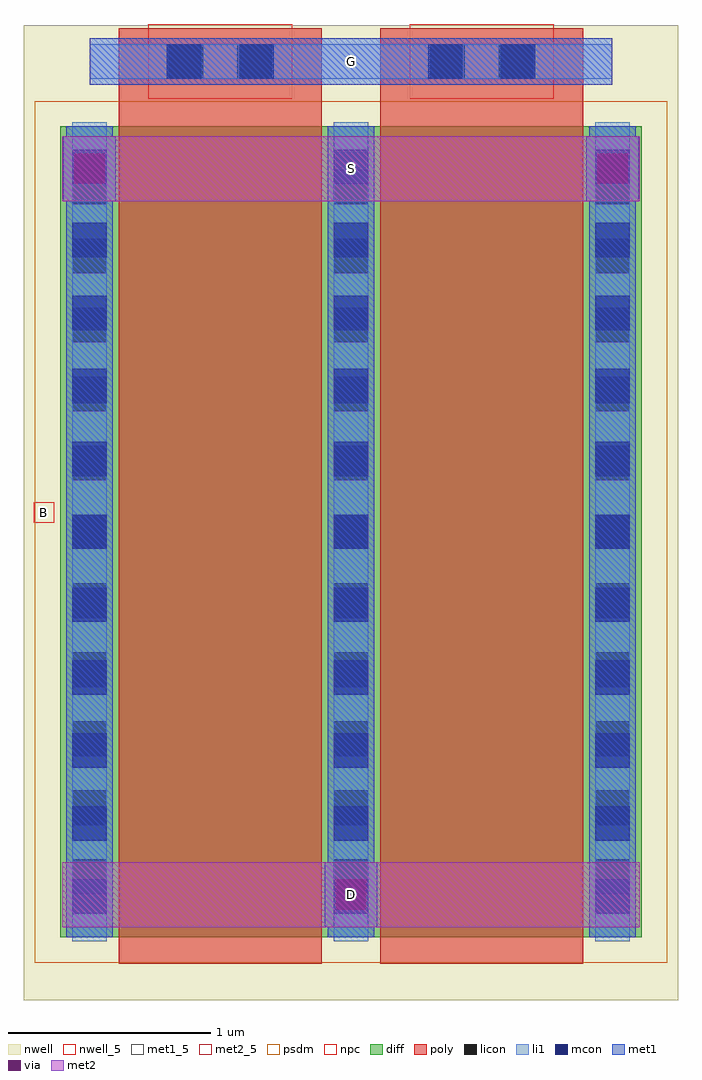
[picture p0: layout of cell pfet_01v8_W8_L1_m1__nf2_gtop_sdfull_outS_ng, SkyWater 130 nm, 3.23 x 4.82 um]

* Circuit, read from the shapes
.subckt pfet_01v8_W8_L1_m1__nf2_gtop_sdfull_outS_ng B D G S
XM1 D G S B sky130_fd_pr__pfet_01v8 w=4 l=1 m=2
.ends

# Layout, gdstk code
import gdstk
lib = gdstk.Library(unit=1e-6, precision=1e-09)
def R(c, l, rs):  # rectangles x0, y0, x1, y1
    for r in rs: c.add(gdstk.rectangle(r[:2], r[2:], *l))
def A(c, l, x, y, w, h, nx, ny, dx, dy):  # array of equal rectangles
    R(c, l, [(x+i*dx, y+j*dy, x+i*dx+w, y+j*dy+h) for i in range(nx) for j in range(ny)])
nwell_5 = (64, 5)
nwell = (64, 20)
diff = (65, 20)
poly = (66, 20)
licon = (66, 44)
li1 = (67, 20)
mcon = (67, 44)
met1_5 = (68, 5)
met1 = (68, 20)
via = (68, 44)
met2_5 = (69, 5)
met2 = (69, 20)
psdm = (94, 20)
npc = (95, 20)

sky130_fd_pr__pfet_01v8_ = lib.new_cell('sky130_fd_pr__pfet_01v8_JH7UZ5')
R(sky130_fd_pr__pfet_01v8_, nwell, [(-1.615,-2.49,1.615,2.32)])
R(sky130_fd_pr__pfet_01v8_, diff, [(-1.435,-2.18,1.435,1.82)])
R(sky130_fd_pr__pfet_01v8_, poly, [(-1.145,-2.31,-0.145,2.305), (0.145,-2.31,1.145,2.305)])
A(sky130_fd_pr__pfet_01v8_, licon, -1.375, -1.965, 0.17, 0.17, 3, 11, 1.29, 0.34)
R(sky130_fd_pr__pfet_01v8_, licon, [(-0.9,2.055,-0.73,2.225), (-0.56,2.055,-0.39,2.225), (0.39,2.055,0.56,2.225), (0.73,2.055,0.9,2.225)])
A(sky130_fd_pr__pfet_01v8_, li1, -1.375, -2.2, 0.17, 4.04, 3, 1, 1.29, 0)
R(sky130_fd_pr__pfet_01v8_, li1, [(-1.29,2.055,1.29,2.225)])
A(sky130_fd_pr__pfet_01v8_, mcon, -1.375, -2.065, 0.17, 0.17, 3, 11, 1.29, 0.36)
R(sky130_fd_pr__pfet_01v8_, mcon, [(-0.91,2.055,-0.74,2.225), (-0.55,2.055,-0.38,2.225), (0.38,2.055,0.55,2.225), (0.74,2.055,0.91,2.225)])
A(sky130_fd_pr__pfet_01v8_, met1, -1.405, -2.18, 0.23, 4, 3, 1, 1.29, 0)
R(sky130_fd_pr__pfet_01v8_, met1, [(-1.125,2.025,-0.165,2.055), (0.165,2.025,1.125,2.055), (-1.29,2.055,1.29,2.225), (-1.125,2.225,-0.165,2.255), (0.165,2.225,1.125,2.255)])
R(sky130_fd_pr__pfet_01v8_, psdm, [(-1.56,-2.305,1.56,1.945)])
R(sky130_fd_pr__pfet_01v8_, npc, [(-1,1.955,-0.29,2.325), (0.29,1.955,1,2.325)])
sky130_fd_pr__pfet_01v8_.add(gdstk.Label('D0', (-1.29,-0.18), layer=67, texttype=5))
sky130_fd_pr__pfet_01v8_.add(gdstk.Label('G', (0.645,2.14), layer=67, texttype=5))
sky130_fd_pr__pfet_01v8_.add(gdstk.Label('G', (-0.645,2.14), layer=67, texttype=5))
sky130_fd_pr__pfet_01v8_.add(gdstk.Label('S1', (0,-0.18), layer=67, texttype=5))

pfet_01v8_w8_l1_m1__nf2_ = lib.new_cell('pfet_01v8_W8_L1_m1__nf2_gtop_sdfull_outS_ng')
R(pfet_01v8_w8_l1_m1__nf2_, nwell_5, [(0.05,2.355,0.15,2.455)])
R(pfet_01v8_w8_l1_m1__nf2_, nwell, [(0.05,2.355,0.15,2.455)])
R(pfet_01v8_w8_l1_m1__nf2_, met1_5, [(0.325,4.515,2.905,4.745)])
R(pfet_01v8_w8_l1_m1__nf2_, met1, [(1.485,0.36,1.745,0.68), (0.195,3.94,0.455,4.26), (2.775,3.94,3.035,4.26), (0.325,4.515,2.905,4.745)])
R(pfet_01v8_w8_l1_m1__nf2_, via, [(1.54,0.445,1.69,0.595), (0.25,4.025,0.4,4.175), (2.83,4.025,2.98,4.175)])
R(pfet_01v8_w8_l1_m1__nf2_, met2_5, [(0.19,0.36,3.04,0.68), (0.19,3.94,3.04,4.26)])
R(pfet_01v8_w8_l1_m1__nf2_, met2, [(0.19,0.36,3.04,0.68), (0.19,3.94,3.04,4.26)])
pfet_01v8_w8_l1_m1__nf2_.add(gdstk.Reference(sky130_fd_pr__pfet_01v8_, (1.615,2.49)))
pfet_01v8_w8_l1_m1__nf2_.add(gdstk.Label('S', (1.615,4.1), layer=69, texttype=5))
pfet_01v8_w8_l1_m1__nf2_.add(gdstk.Label('D', (1.615,0.52), layer=69, texttype=5))
pfet_01v8_w8_l1_m1__nf2_.add(gdstk.Label('G', (1.615,4.63), layer=68, texttype=5))
pfet_01v8_w8_l1_m1__nf2_.add(gdstk.Label('B', (0.1,2.405), layer=64, texttype=5))

lib.write_gds('pfet_01v8_W8_L1_m1__nf2_gtop_sdfull_outS_ng.gds')
